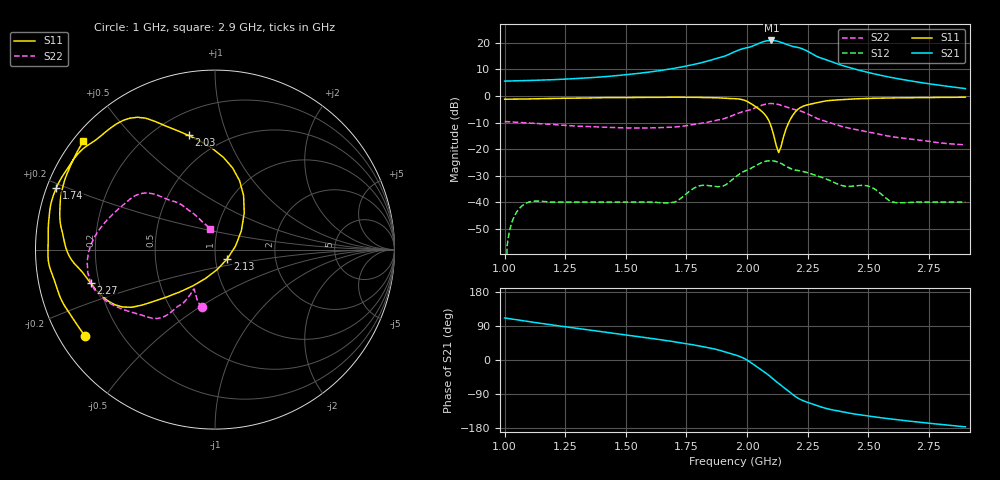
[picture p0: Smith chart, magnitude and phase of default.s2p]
# GHz S RI R 50
! S-Parameters data
! FREQ  reS11  imS11  reS21  imS21  reS12  imS12  reS22  imS22
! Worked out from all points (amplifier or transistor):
!   191 points, 1 GHz to 2.9 GHz, reference 50 ohm
!   highest |S21| = 20.9 dB at 2.1 GHz (marker M1)
!   |S21| within 3 dB of that: 1.987 GHz to 2.223 GHz (235.7 MHz wide, 11.2 % of centre)
!   lowest NFmin = 10.20 dB at 1.9 GHz
!   S11 on the Smith chart (normalised r, x): 1 GHz: 0.08, -0.30; 1.74 GHz: 0.03, +0.19; 2.03 GHz: 0.33, +0.74; 2.13 GHz: 1.14, -0.12; 2.27 GHz: 0.17, -0.13; 2.9 GHz: 0.03, +0.36
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1  -0.7247 -0.4813  -0.6857 1.783  0 0  -0.0741 -0.3216
1.01  -0.7318 -0.4715  -0.656 1.798  0.0014 0.000463  -0.0761 -0.319
1.05  -0.7593 -0.432  -0.5363 1.856  0.00622 0.00191  -0.0834 -0.3089
1.32  -0.8999 -0.1581  0.3161 2.143  0.00999 -0.000539  -0.1087 -0.2444
1.64  -0.9218 0.2087  1.777 2.431  0.00847 -0.00482  -0.1198 -0.2226
1.74  -0.8843 0.3436  2.589 2.506  0.0103 -0.00831  -0.13 -0.2384
1.87  -0.7507 0.5474  4.432 2.391  0.0115 -0.0159  -0.1762 -0.2963
1.95  -0.5466 0.7017  6.691 1.614  0.0112 -0.027  -0.2644 -0.3624
1.99  -0.3856 0.7321  7.947 0.4711  0.00795 -0.0375  -0.3473 -0.383
2.03  -0.1475 0.6364  8.781 -2.098  -0.00482 -0.0468  -0.4797 -0.3444
2.07  0.0984 0.4547  9.129 -5.544  -0.022 -0.0532  -0.6406 -0.2589
2.1  0.1629 0.2027  7.716 -8.049  -0.0368 -0.0474  -0.7092 -0.1244
2.13  0.0685 -0.0515  5.006 -9.367  -0.0452 -0.0329  -0.6883 0.0352
2.15  -0.0529 -0.1609  3.116 -9.412  -0.0453 -0.0226  -0.6361 0.1235
2.18  -0.2695 -0.2641  0.472 -8.816  -0.0418 -0.00845  -0.5348 0.2292
2.21  -0.4639 -0.3214  -1.538 -8.062  -0.0394 0.00107  -0.4445 0.3009
2.24  -0.5995 -0.2839  -2.48 -6.899  -0.0362 0.00653  -0.3641 0.3142
2.27  -0.6926 -0.1873  -2.738 -5.533  -0.0319 0.00971  -0.2927 0.2919
2.32  -0.8 -0.0563  -2.952 -3.938  -0.0247 0.013  -0.2106 0.2624
2.39  -0.8488 0.089  -2.735 -2.623  -0.0165 0.0122  -0.1495 0.2213
2.59  -0.8455 0.3587  -2.05 -0.9396  -0.00595 0.00853  -0.073 0.1568
2.9  -0.7331 0.6041  -1.377 -0.0869  -0.00263 0.00965  -0.0257 0.1172
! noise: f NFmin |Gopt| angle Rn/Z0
1.9  10.2  1.234  -78.4  0.24
1.93  12.3  1.235  -68.6  0.34
2.06  13.1  1.254  -56.7  0.44
2.08  13.5  1.534  -52.8  0.54
2.1  13.9  1.263  -44.4  0.64
2.15  13.2  1.444  -40.2  0.66
2.3  12.7  1.543  -30.3  0.7
2.4  13.1  1.554  -20.1  0.71
2.48  12.5  1.412  -15  0.77
